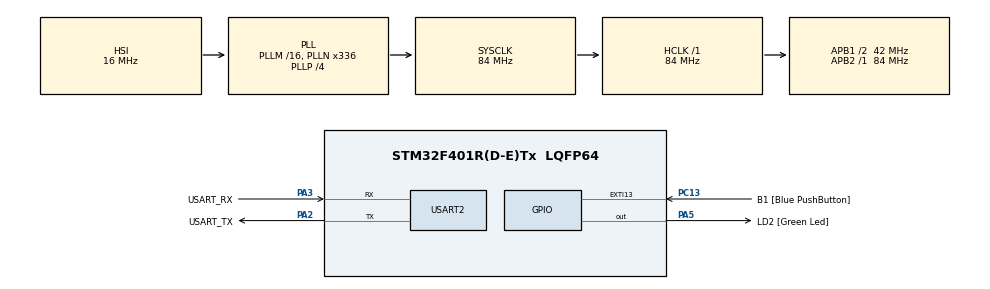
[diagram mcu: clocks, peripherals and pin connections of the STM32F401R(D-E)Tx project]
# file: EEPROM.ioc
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Mcu.Family=STM32F4
PC15-OSC32_OUT.Mode=LSE-External-Oscillator
PA2.GPIO_PuPd=GPIO_NOPULL
RCC.CortexFreq_Value=84000000
PC13-ANTI_TAMP.GPIO_PuPd=GPIO_PULLUP
PC13-ANTI_TAMP.GPIO_Label=B1 [Blue PushButton]
PA14.GPIO_Label=TCK
PA3.GPIO_PuPd=GPIO_NOPULL
PH1\ -\ OSC_OUT.Mode=HSE-External-Clock-Source
PA2.GPIO_Speed=GPIO_SPEED_FREQ_LOW
RCC.APB1CLKDivider=RCC_HCLK_DIV2
PC14-OSC32_IN.Signal=RCC_OSC32_IN
PA3.GPIO_Speed=GPIO_SPEED_FREQ_LOW
RCC.SYSCLKSource=RCC_SYSCLKSOURCE_PLLCLK
ProjectManager.StackSize=0x400
PA13.Signal=SYS_JTMS-SWDIO
PA3.Mode=Asynchronous
PH0\ -\ OSC_IN.Mode=HSE-External-Clock-Source
PH0\ -\ OSC_IN.Signal=RCC_OSC_IN
ProjectManager.TargetToolchain=STM32CubeIDE
PA3.GPIO_Mode=GPIO_MODE_AF_PP
RCC.HCLKFreq_Value=84000000
RCC.APB2TimFreq_Value=84000000
PC15-OSC32_OUT.Signal=RCC_OSC32_OUT
RCC.AHBFreq_Value=84000000
NVIC.EXTI15_10_IRQn=true\:0\:0\:false\:false\:true\:true\:true
PA5.Signal=GPIO_Output
RCC.HSE_VALUE=8000000
PH1\ -\ OSC_OUT.Signal=RCC_OSC_OUT
board=NUCLEO-F401RE
PC13-ANTI_TAMP.Signal=GPXTI13
RCC.VCOOutputFreq_Value=336000000
RCC.APB2Freq_Value=84000000
PC14-OSC32_IN.Mode=LSE-External-Oscillator
PA14.Mode=Serial_Wire
PA5.GPIO_PuPd=GPIO_NOPULL
PA13.Mode=Serial_Wire
Mcu.Name=STM32F401R(D-E)Tx
PA2.Signal=USART2_TX
PA13.GPIO_Label=TMS
RCC.48MHZClocksFreq_Value=48000000
PB3.Signal=SYS_JTDO-SWO
RCC.SYSCLKFreq_VALUE=84000000
Mcu.Package=LQFP64
PA5.GPIO_Label=LD2 [Green Led]
USART2.VirtualMode=VM_ASYNC
PC13-ANTI_TAMP.GPIO_ModeDefaultEXTI=GPIO_MODE_IT_FALLING
PA2.GPIO_Label=USART_TX
PA14.Signal=SYS_JTCK-SWCLK
ProjectManager.HeapSize=0x200
RCC.HSI_VALUE=16000000
RCC.PLLP=RCC_PLLP_DIV4
PA5.GPIO_Speed=GPIO_SPEED_FREQ_LOW
RCC.PLLQ=7
NVIC.PriorityGroup=NVIC_PRIORITYGROUP_0
RCC.PLLN=336
RCC.APB1TimFreq_Value=84000000
PA2.Mode=Asynchronous
RCC.APB1Freq_Value=42000000
PA5.GPIO_Mode=GPIO_MODE_OUTPUT_PP
PA3.GPIO_Label=USART_RX
PA3.Signal=USART2_RX
PA2.GPIO_Mode=GPIO_MODE_AF_PP
PB3.GPIO_Label=SWO

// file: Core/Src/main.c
/* USER CODE BEGIN Header */
/**
  ******************************************************************************
  * @file           : main.c
  * @brief          : Main program body
  ******************************************************************************
  * @attention
  *
  * <h2><center>&copy; Copyright (c) 2021 STMicroelectronics.
  * All rights reserved.</center></h2>
  *
  * This software component is licensed by ST under BSD 3-Clause license,
  * the "License"; You may not use this file except in compliance with the
  * License. You may obtain a copy of the License at:
  *                        opensource.org/licenses/BSD-3-Clause
  *
  ******************************************************************************
  */
/* USER CODE END Header */
#include "main.h"

UART_HandleTypeDef huart2;

/* USER CODE BEGIN PV */

uint16_t VarValue = 0;
uint16_t VirtAddVarTab[3]={0x5555,0x6666,0x7777};
uint16_t VarDataTab[3]={0};
uint16_t VarDataTmp=0;
Config_t config;
volatile DevNVRAM nvram;

/* USER CODE END PV */

void SystemClock_Config(void);

static void MX_USART2_UART_Init(void);

int main(void)
{
  /* USER CODE BEGIN 1 */
	Config_t *cPtr = &config;
	memcpy(cPtr->phoneNumber,"+12345678900",sizeof(cPtr->phoneNumber)/sizeof(char));
	memcpy(cPtr->str,"Hello World!",sizeof(cPtr->str)/sizeof(char));
	config.magicNumber = (uint32_t) 0xCAFEBABE;
	nvram.config = config;

  /* USER CODE END 1 */

  /* MCU Configuration--------------------------------------------------------*/

  /* Reset of all peripherals, Initializes the Flash interface and the Systick. */
  HAL_Init();

  /* USER CODE BEGIN Init */
  EE_Init();
  BSP_LED_Init(LED2);
  BSP_PB_Init(BUTTON_KEY);
  /* Unlock the Flash Program Erase controller */
  HAL_FLASH_Unlock();

  /* USER CODE END Init */

  /* Configure the system clock */
  SystemClock_Config();

  /* Initialize all configured peripherals */
  MX_USART2_UART_Init();
  /* USER CODE BEGIN 2 */
  /* EEPROM Init */

      if( EE_Init() != EE_OK)
    {
      Error_Handler();
    }

  /* USER CODE END 2 */

  /* Infinite loop */
  /* USER CODE BEGIN WHILE */
  BSP_LED_On(LED2);
  while (1)
  {
    /* USER CODE END WHILE */

  }
}

void SystemClock_Config(void)
{
  RCC_OscInitTypeDef RCC_OscInitStruct = {0};
  RCC_ClkInitTypeDef RCC_ClkInitStruct = {0};

  /** Configure the main internal regulator output voltage
  */
  __HAL_RCC_PWR_CLK_ENABLE();
  __HAL_PWR_VOLTAGESCALING_CONFIG(PWR_REGULATOR_VOLTAGE_SCALE2);
  /** Initializes the RCC Oscillators according to the specified parameters
  * in the RCC_OscInitTypeDef structure.
  */
  RCC_OscInitStruct.OscillatorType = RCC_OSCILLATORTYPE_HSI;
  RCC_OscInitStruct.HSIState = RCC_HSI_ON;
  RCC_OscInitStruct.HSICalibrationValue = RCC_HSICALIBRATION_DEFAULT;
  RCC_OscInitStruct.PLL.PLLState = RCC_PLL_ON;
  RCC_OscInitStruct.PLL.PLLSource = RCC_PLLSOURCE_HSI;
  RCC_OscInitStruct.PLL.PLLM = 16;
  RCC_OscInitStruct.PLL.PLLN = 336;
  RCC_OscInitStruct.PLL.PLLP = RCC_PLLP_DIV4;
  RCC_OscInitStruct.PLL.PLLQ = 7;
  if (HAL_RCC_OscConfig(&RCC_OscInitStruct) != HAL_OK)
  {
    Error_Handler();
  }
  /** Initializes the CPU, AHB and APB buses clocks
  */
  RCC_ClkInitStruct.ClockType = RCC_CLOCKTYPE_HCLK|RCC_CLOCKTYPE_SYSCLK
                              |RCC_CLOCKTYPE_PCLK1|RCC_CLOCKTYPE_PCLK2;
  RCC_ClkInitStruct.SYSCLKSource = RCC_SYSCLKSOURCE_PLLCLK;
  RCC_ClkInitStruct.AHBCLKDivider = RCC_SYSCLK_DIV1;
  RCC_ClkInitStruct.APB1CLKDivider = RCC_HCLK_DIV2;
  RCC_ClkInitStruct.APB2CLKDivider = RCC_HCLK_DIV1;

  if (HAL_RCC_ClockConfig(&RCC_ClkInitStruct, FLASH_LATENCY_2) != HAL_OK)
  {
    Error_Handler();
  }
}

static void MX_USART2_UART_Init(void)
{

  huart2.Instance = USART2;
  huart2.Init.BaudRate = 115200;
  huart2.Init.WordLength = UART_WORDLENGTH_8B;
  huart2.Init.StopBits = UART_STOPBITS_1;
  huart2.Init.Parity = UART_PARITY_NONE;
  huart2.Init.Mode = UART_MODE_TX_RX;
  huart2.Init.HwFlowCtl = UART_HWCONTROL_NONE;
  huart2.Init.OverSampling = UART_OVERSAMPLING_16;
  if (HAL_UART_Init(&huart2) != HAL_OK)
  {
    Error_Handler();
  }

}

/* USER CODE BEGIN 4 */
void HAL_GPIO_EXTI_Callback(uint16_t GPIO_Pin) {

	if (GPIO_Pin == GPIO_PIN_13) {
		nvram.config = config;
		for(uint16_t i=0;i<sizeof(nvram.data32)/sizeof(uint32_t);i++) {
			EE_WriteVariable((uint16_t) (nvram.data32[i]>>16),  (uint16_t) nvram.data32[i]);
		}
	    BSP_LED_Toggle(LED2);

	} else __NOP();
}

/* USER CODE END 4 */

void Error_Handler(void)
{
  __disable_irq();
  while (1)
  {
  }
}

/************************ (C) COPYRIGHT STMicroelectronics *****END OF FILE****/
